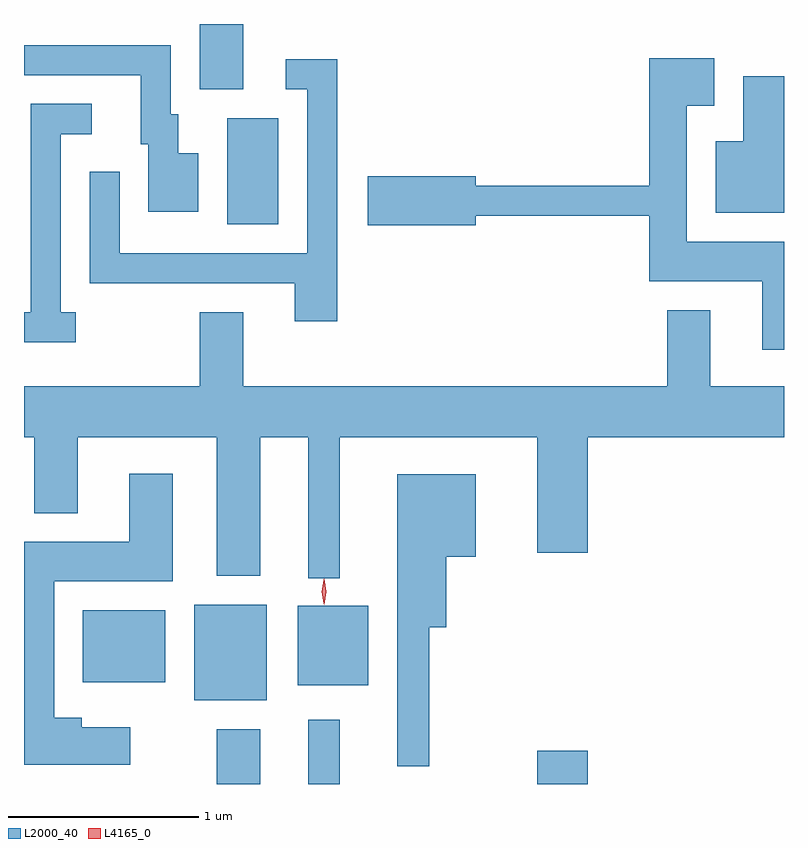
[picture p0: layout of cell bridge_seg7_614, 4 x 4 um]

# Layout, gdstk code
import gdstk
lib = gdstk.Library(unit=1e-6, precision=1e-09)
def R(c, l, rs):  # rectangles x0, y0, x1, y1
    for r in rs: c.add(gdstk.rectangle(r[:2], r[2:], *l))
def P(c, l, *ps):  # polygons
    for p in ps: c.add(gdstk.Polygon(p, *l))
L2000_40 = (2000, 40)
L4165_0 = (4165, 0)

bridge_seg7_614 = lib.new_cell('bridge_seg7_614')
R(bridge_seg7_614, L2000_40, [(812.791,1676.97,813.019,1677.259), (813.271,1676.97,813.439,1677.308), (814.476,1676.97,814.744,1677.144), (812.671,1677.411,813.054,1677.914), (813.216,1677.491,813.589,1677.909), (812.086,1677.506,812.519,1677.884), (812.846,1679.916,813.114,1680.474), (812.701,1680.626,812.929,1680.97)])
P(bridge_seg7_614, L2000_40, [(812.694,1680.289),(812.589,1680.289),(812.589,1680.494),(812.549,1680.494),(812.549,1680.859),(811.776,1680.859),(811.776,1680.701),(812.391,1680.701),(812.391,1680.336),(812.431,1680.336),(812.431,1679.981),(812.694,1679.981)],
  [(815.776,1679.824),(815.264,1679.824),(815.264,1680.541),(815.409,1680.541),(815.409,1680.789),(815.066,1680.789),(815.066,1680.119),(814.154,1680.119),(814.154,1680.169),(813.586,1680.169),(813.586,1679.911),(814.154,1679.911),(814.154,1679.961),(815.066,1679.961),(815.066,1679.616),(815.661,1679.616),(815.661,1679.256),(815.776,1679.256)],
  [(813.424,1680.784),(813.153,1680.784),(813.153,1680.626),(813.266,1680.626),(813.266,1679.764),(812.279,1679.764),(812.279,1680.193),(812.121,1680.193),(812.121,1679.606),(813.201,1679.606),(813.201,1679.406),(813.424,1679.406)],
  [(815.776,1680.694),(815.561,1680.694),(815.561,1680.354),(815.416,1680.354),(815.416,1679.976),(815.776,1679.976)],
  [(812.048,1679.454),(811.969,1679.454),(811.969,1680.391),(812.133,1680.391),(812.133,1680.549),(811.811,1680.549),(811.811,1679.454),(811.776,1679.454),(811.776,1679.296),(812.048,1679.296)],
  [(813.439,1678.796),(814.476,1678.796),(814.476,1678.186),(814.744,1678.186),(814.744,1678.796),(815.776,1678.796),(815.776,1679.064),(815.389,1679.064),(815.389,1679.464),(815.161,1679.464),(815.161,1679.064),(812.929,1679.064),(812.929,1679.454),(812.701,1679.454),(812.701,1679.064),(811.776,1679.064),(811.776,1678.796),(811.831,1678.796),(811.831,1678.396),(812.059,1678.396),(812.059,1678.796),(812.791,1678.796),(812.791,1678.066),(813.019,1678.066),(813.019,1678.796),(813.271,1678.796),(813.271,1678.053),(813.439,1678.053)],
  [(812.334,1677.269),(812.079,1677.269),(812.079,1677.319),(811.934,1677.319),(811.934,1678.036),(812.559,1678.036),(812.559,1678.604),(812.331,1678.604),(812.331,1678.244),(811.776,1678.244),(811.776,1677.071),(812.334,1677.071)],
  [(813.909,1677.796),(813.999,1677.796),(813.999,1678.166),(814.154,1678.166),(814.154,1678.599),(813.741,1678.599),(813.741,1677.063),(813.909,1677.063)])
P(bridge_seg7_614, L4165_0, [(813.355,1677.914),(813.346,1677.982),(813.355,1678.05),(813.356,1678.05),(813.356,1678.05),(813.366,1677.982),(813.356,1677.914),(813.356,1677.914)],
  [(813.354,1677.918),(813.354,1677.918),(813.344,1677.982),(813.354,1678.046),(813.354,1678.047),(813.355,1678.046),(813.364,1677.982),(813.355,1677.918)])

lib.write_gds('bridge_seg7_614.gds')
